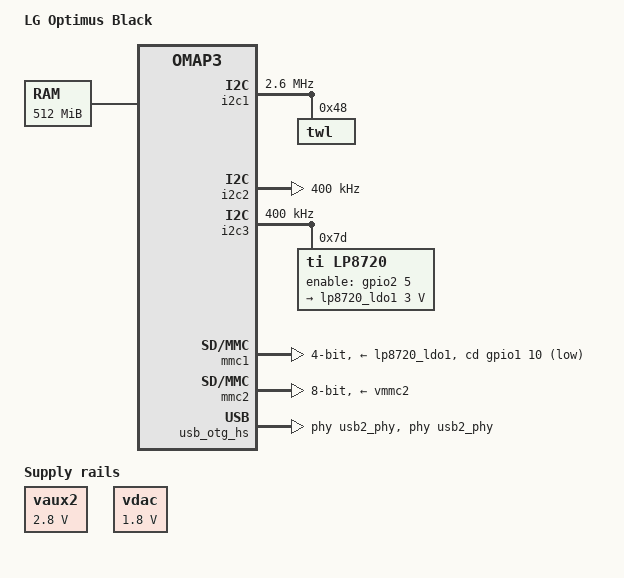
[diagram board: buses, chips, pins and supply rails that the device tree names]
// SPDX-License-Identifier: GPL-2.0-only
/*
 * Copyright (C) 2015-2016 Paul Kocialkowski <contact@paulk.fr>
 */
/dts-v1/;

#include "omap36xx.dtsi"
#include <dt-bindings/input/input.h>

/ {
	model = "LG Optimus Black";
	compatible = "lg,omap3-sniper", "ti,omap3630", "ti,omap3";

	cpus {
		cpu@0 {
			cpu0-supply = <&vcc>;
		};
	};

	memory@80000000 {
		device_type = "memory";
		reg = <0x80000000 0x20000000>; /* 512 MB */
	};
};

&omap3_pmx_core {
	pinctrl-names = "default";

	uart3_pins: uart3-pins {
		pinctrl-single,pins = <
			OMAP3_CORE1_IOPAD(0x219e, PIN_INPUT | MUX_MODE0)	/* uart3_rx_irrx */
			OMAP3_CORE1_IOPAD(0x21a0, PIN_OUTPUT | MUX_MODE0)	/* uart3_tx_irtx */
		>;
	};

	dp3t_sel_pins: dp3t-sel-pins {
		pinctrl-single,pins = <
			OMAP3_CORE1_IOPAD(0x2196, PIN_OUTPUT | MUX_MODE4)	/* gpio_161 */
			OMAP3_CORE1_IOPAD(0x2198, PIN_OUTPUT | MUX_MODE4)	/* gpio_162 */
		>;
	};

	i2c1_pins: i2c1-pins {
		pinctrl-single,pins = <
			OMAP3_CORE1_IOPAD(0x21ba, PIN_INPUT | MUX_MODE0)	/* i2c1_scl */
			OMAP3_CORE1_IOPAD(0x21bc, PIN_INPUT | MUX_MODE0)	/* i2c1_sda */
		>;
	};

	i2c2_pins: i2c2-pins {
		pinctrl-single,pins = <
			OMAP3_CORE1_IOPAD(0x21be, PIN_INPUT | MUX_MODE0)	/* i2c2_scl */
			OMAP3_CORE1_IOPAD(0x21c0, PIN_INPUT | MUX_MODE0)	/* i2c2_sda */
		>;
	};

	i2c3_pins: i2c3-pins {
		pinctrl-single,pins = <
			OMAP3_CORE1_IOPAD(0x21c2, PIN_INPUT | MUX_MODE0)	/* i2c3_scl */
			OMAP3_CORE1_IOPAD(0x21c4, PIN_INPUT | MUX_MODE0)	/* i2c3_sda */
		>;
	};

	lp8720_en_pin: lp8720-en-pins {
		pinctrl-single,pins = <
			OMAP3_CORE1_IOPAD(0x2080, PIN_OUTPUT | MUX_MODE4)	/* gpio_37 */
		>;
	};

	mmc1_pins: mmc1-pins {
		pinctrl-single,pins = <
			OMAP3_CORE1_IOPAD(0x2144, PIN_INPUT | MUX_MODE0)	/* sdmmc1_clk */
			OMAP3_CORE1_IOPAD(0x2146, PIN_INPUT | MUX_MODE0)	/* sdmmc1_cmd */
			OMAP3_CORE1_IOPAD(0x2148, PIN_INPUT | MUX_MODE0)	/* sdmmc1_dat0 */
			OMAP3_CORE1_IOPAD(0x214a, PIN_INPUT | MUX_MODE0)	/* sdmmc1_dat1 */
			OMAP3_CORE1_IOPAD(0x214c, PIN_INPUT | MUX_MODE0)	/* sdmmc1_dat2 */
			OMAP3_CORE1_IOPAD(0x214e, PIN_INPUT | MUX_MODE0)	/* sdmmc1_dat3 */
		>;
	};

	mmc2_pins: mmc2-pins {
		pinctrl-single,pins = <
			OMAP3_CORE1_IOPAD(0x2158, PIN_INPUT | MUX_MODE0)	/* sdmmc2_clk */
			OMAP3_CORE1_IOPAD(0x215a, PIN_INPUT | MUX_MODE0)	/* sdmmc2_cmd */
			OMAP3_CORE1_IOPAD(0x215c, PIN_INPUT | MUX_MODE0)	/* sdmmc2_dat0 */
			OMAP3_CORE1_IOPAD(0x215e, PIN_INPUT | MUX_MODE0)	/* sdmmc2_dat1 */
			OMAP3_CORE1_IOPAD(0x2160, PIN_INPUT | MUX_MODE0)	/* sdmmc2_dat2 */
			OMAP3_CORE1_IOPAD(0x2162, PIN_INPUT | MUX_MODE0)	/* sdmmc2_dat3 */
			OMAP3_CORE1_IOPAD(0x2164, PIN_INPUT | MUX_MODE0)	/* sdmmc2_dat4 */
			OMAP3_CORE1_IOPAD(0x2166, PIN_INPUT | MUX_MODE0)	/* sdmmc2_dat5 */
			OMAP3_CORE1_IOPAD(0x2168, PIN_INPUT | MUX_MODE0)	/* sdmmc2_dat6 */
			OMAP3_CORE1_IOPAD(0x216a, PIN_INPUT | MUX_MODE0)	/* sdmmc2_dat7 */
		>;
	};

	usb_otg_hs_pins: usb-otg-hs-pins {
		pinctrl-single,pins = <
			OMAP3_CORE1_IOPAD(0x21a2, PIN_INPUT | MUX_MODE0)	/* hsusb0_clk */
			OMAP3_CORE1_IOPAD(0x21a4, PIN_OUTPUT | MUX_MODE0)	/* hsusb0_stp */
			OMAP3_CORE1_IOPAD(0x21a6, PIN_INPUT | MUX_MODE0)	/* hsusb0_dir */
			OMAP3_CORE1_IOPAD(0x21a8, PIN_INPUT | MUX_MODE0)	/* hsusb0_nxt */
			OMAP3_CORE1_IOPAD(0x21aa, PIN_INPUT | MUX_MODE0)	/* hsusb0_data0 */
			OMAP3_CORE1_IOPAD(0x21ac, PIN_INPUT | MUX_MODE0)	/* hsusb0_data1 */
			OMAP3_CORE1_IOPAD(0x21ae, PIN_INPUT | MUX_MODE0)	/* hsusb0_data2 */
			OMAP3_CORE1_IOPAD(0x21b0, PIN_INPUT | MUX_MODE0)	/* hsusb0_data3 */
			OMAP3_CORE1_IOPAD(0x21b2, PIN_INPUT | MUX_MODE0)	/* hsusb0_data4 */
			OMAP3_CORE1_IOPAD(0x21b4, PIN_INPUT | MUX_MODE0)	/* hsusb0_data5 */
			OMAP3_CORE1_IOPAD(0x21b6, PIN_INPUT | MUX_MODE0)	/* hsusb0_data6 */
			OMAP3_CORE1_IOPAD(0x21b8, PIN_INPUT | MUX_MODE0)	/* hsusb0_data7 */
		>;
	};
};

&omap3_pmx_wkup {
	pinctrl-names = "default";

	mmc1_cd_pin: mmc1-cd-pins {
		pinctrl-single,pins = <
			OMAP3_WKUP_IOPAD(0x2a1a, PIN_INPUT | MUX_MODE4)		/* gpio_10 */
		>;
	};
};

&gpio2 {
	ti,no-reset-on-init;
};

&gpio5 {
	ti,no-reset-on-init;
};

&gpio6 {
	ti,no-reset-on-init;
};

&uart3 {
	pinctrl-names = "default";
	pinctrl-0 = <&uart3_pins &dp3t_sel_pins>;

	interrupts-extended = <&intc 74 &omap3_pmx_core OMAP3_UART3_RX>;
};

&i2c1 {
	pinctrl-names = "default";
	pinctrl-0 = <&i2c1_pins>;

	clock-frequency = <2600000>;

	twl: twl@48 {
		reg = <0x48>;
		interrupts = <7>; /* SYS_NIRQ cascaded to intc */
		interrupt-parent = <&intc>;

		power {
			compatible = "ti,twl4030-power";
			ti,use_poweroff;
		};
	};
};

&i2c2 {
	pinctrl-names = "default";
	pinctrl-0 = <&i2c2_pins>;

	clock-frequency = <400000>;
};

&i2c3 {
	pinctrl-names = "default";
	pinctrl-0 = <&i2c3_pins>;

	clock-frequency = <400000>;

	lp8720@7d {
		pinctrl-names = "default";
		pinctrl-0 = <&lp8720_en_pin>;

		compatible = "ti,lp8720";
		reg = <0x7d>;

		enable-gpios = <&gpio2 5 GPIO_ACTIVE_HIGH>; /* gpio_37 */

		lp8720_ldo1: ldo1 {
			regulator-min-microvolt = <3000000>;
			regulator-max-microvolt = <3000000>;
		};
	};
};

&mmc1 {
	pinctrl-names = "default";
	pinctrl-0 = <&mmc1_pins &mmc1_cd_pin>;

	vmmc-supply = <&lp8720_ldo1>;
	cd-gpios = <&gpio1 10 GPIO_ACTIVE_LOW>; /* gpio 10 */
	bus-width = <4>;
};

&mmc2 {
	pinctrl-names = "default";
	pinctrl-0 = <&mmc2_pins>;

	vmmc-supply = <&vmmc2>;
	ti,non-removable;
	bus-width = <8>;
};

&mmc3 {
	status = "disabled";
};

&usb_otg_hs {
	pinctrl-names = "default";
	pinctrl-0 = <&usb_otg_hs_pins>;

	interface-type = <0>;
	usb-phy = <&usb2_phy>;
	phys = <&usb2_phy>;
	phy-names = "usb2-phy";
	mode = <3>;
	power = <50>;
};

#include "twl4030.dtsi"
#include "twl4030_omap3.dtsi"

&twl_keypad {
	linux,keymap = <
		MATRIX_KEY(0x00, 0x00, KEY_VOLUMEUP)
		MATRIX_KEY(0x01, 0x00, KEY_VOLUMEDOWN)
		MATRIX_KEY(0x02, 0x00, KEY_SELECT)
	>;
};

/*
 * The TWL4030 VAUX2 and VDAC regulators power sensors that are slaves on I2C3.
 * When not powered, these sensors cause the I2C3 clock to stay low at all times,
 * making it impossible to reach other devices on I2C3.
 */

&vaux2 {
	regulator-min-microvolt = <2800000>;
	regulator-max-microvolt = <2800000>;
	regulator-always-on;
};

&vdac {
	regulator-min-microvolt = <1800000>;
	regulator-max-microvolt = <1800000>;
	regulator-always-on;
};
